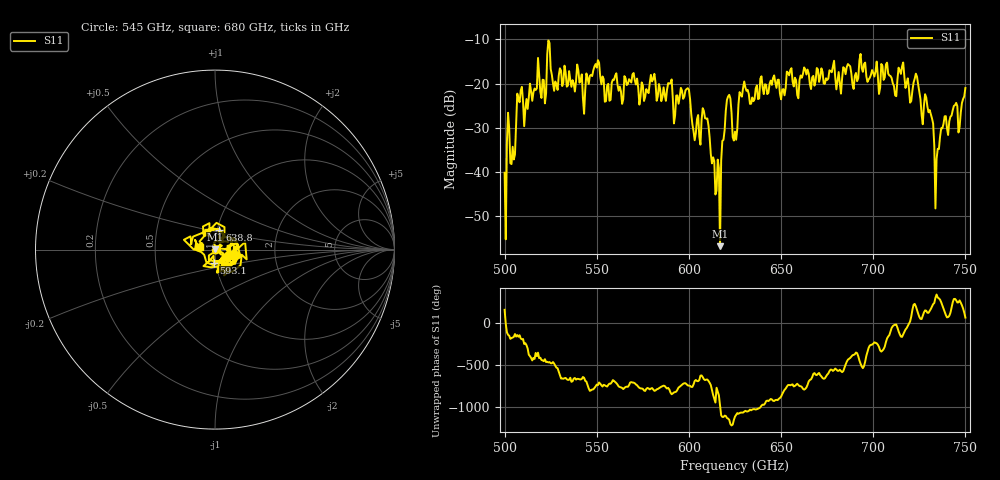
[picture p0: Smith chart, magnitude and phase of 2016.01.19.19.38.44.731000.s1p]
!Created with skrf (http://scikit-rf.org).
# GHz S RI R 50.0
!freq ReS11 ImS11
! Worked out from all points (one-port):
!   401 points, 500 GHz to 750 GHz, reference 50 ohm
!   lowest |S11| = -56.7 dB at 616.9 GHz (marker M1), VSWR 1.00, Z = 50 + j0.141 ohm
!   |S11| at or under -10 dB: start of sweep to end of sweep
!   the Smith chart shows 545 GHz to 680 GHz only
!   S11 on the Smith chart (normalised r, x): 545 GHz: 1.25, -0.08; 593.1 GHz: 0.98, -0.14; 638.8 GHz: 1.02, +0.23; 680 GHz: 0.84, +0.03
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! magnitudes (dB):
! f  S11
! 500 GHz  -40.1
! 502.5 GHz  -30.2
! 504.4 GHz  -34.2
! 508.1 GHz  -24.2
! 521.2 GHz  -19.2
! 524.4 GHz  -10.8
! 527.5 GHz  -19.5
! 531.2 GHz  -20.5
! 545 GHz  -18.7
! 562.5 GHz  -20.7
! 580.6 GHz  -19.0
! 593.1 GHz  -22.7
! 593.8 GHz  -22.6
! 608.8 GHz  -27.8
! 615.6 GHz  -37.2
! 616.9 GHz  -56.7
! 621.2 GHz  -22.9
! 625 GHz  -30.8
! 628.8 GHz  -22.9
! 638.8 GHz  -18.8
! 656.2 GHz  -19.5
! 680 GHz  -21.3
! 687.5 GHz  -16.1
! 718.8 GHz  -18.8
! 729.4 GHz  -25.1
! 734.4 GHz  -37.0
! 738.1 GHz  -29.1
! 750 GHz  -21.0
